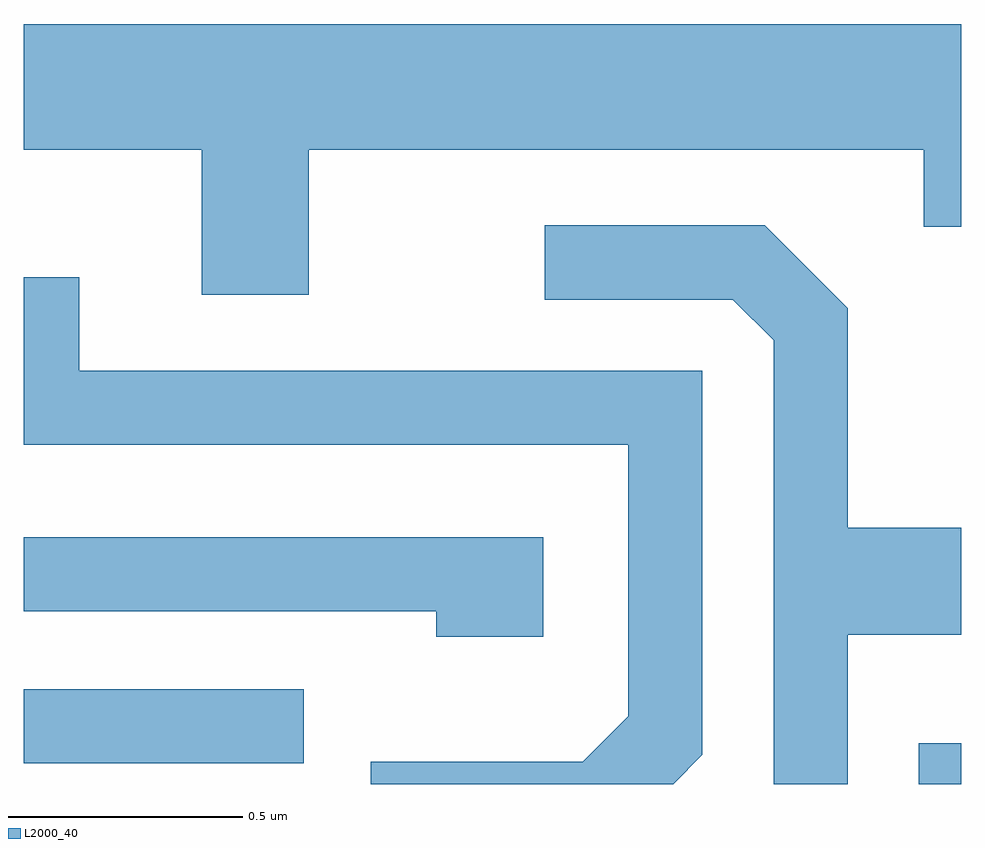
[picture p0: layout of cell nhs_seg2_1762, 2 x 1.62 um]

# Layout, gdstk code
import gdstk
lib = gdstk.Library(unit=1e-6, precision=1e-09)
def R(c, l, rs):  # rectangles x0, y0, x1, y1
    for r in rs: c.add(gdstk.rectangle(r[:2], r[2:], *l))
def P(c, l, *ps):  # polygons
    for p in ps: c.add(gdstk.Polygon(p, *l))
L2000_40 = (2000, 40)

nhs_seg2_1762 = lib.new_cell('nhs_seg2_1762')
R(nhs_seg2_1762, L2000_40, [(199.521,1095.802,199.611,1095.889), (197.611,1095.846,198.208,1096.004)])
P(nhs_seg2_1762, L2000_40, [(198.219,1097.156),(199.531,1097.156),(199.531,1096.991),(199.611,1096.991),(199.611,1097.424),(197.611,1097.424),(197.611,1097.156),(197.991,1097.156),(197.991,1096.846),(198.219,1096.846)],
  [(199.369,1096.121),(199.611,1096.121),(199.611,1096.349),(199.369,1096.349),(199.369,1096.817),(199.192,1096.994),(198.723,1096.994),(198.723,1096.836),(199.124,1096.836),(199.211,1096.749),(199.211,1095.802),(199.369,1095.802)],
  [(199.059,1095.864),(199.059,1096.684),(197.729,1096.684),(197.729,1096.883),(197.611,1096.883),(197.611,1096.526),(198.901,1096.526),(198.901,1095.947),(198.804,1095.849),(198.351,1095.849),(198.351,1095.802),(198.997,1095.802)],
  [(198.719,1096.329),(197.611,1096.329),(197.611,1096.171),(198.491,1096.171),(198.491,1096.116),(198.719,1096.116)])

lib.write_gds('nhs_seg2_1762.gds')
